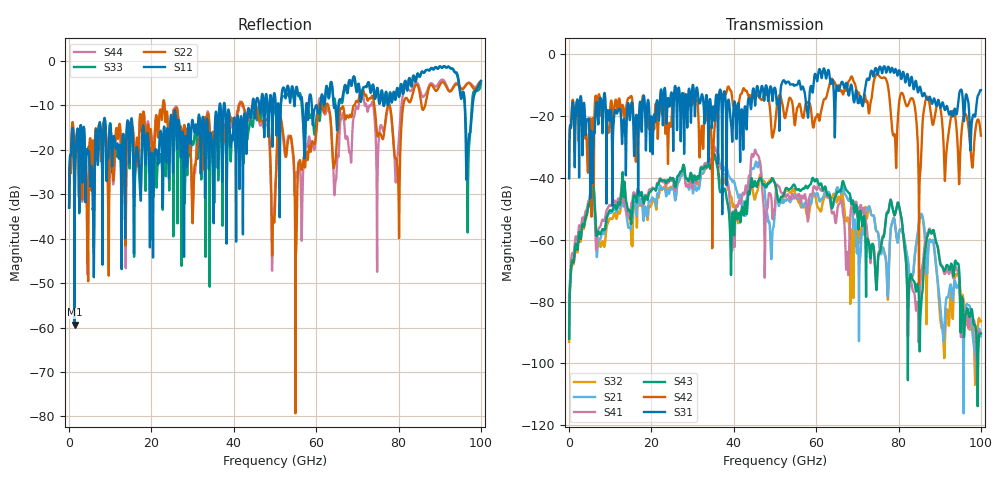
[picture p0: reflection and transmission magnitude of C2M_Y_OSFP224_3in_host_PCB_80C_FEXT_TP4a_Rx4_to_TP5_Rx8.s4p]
# GHz S RI R 45
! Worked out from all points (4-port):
!   4000 points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, 25 MHz to 100 GHz, reference 45 ohm
!   strongest paths, dB at 25 MHz, 25.02 GHz, 50.02 GHz, 75.03 GHz, 100 GHz:
!     S31: -40.1, -13.3, -10.9, -6.3, -11.5
!     S42: -39.6, -17.2, -22.8, -6.5, -26.3
!     S43: -92.1, -40.4, -41.7, -66.6, -90.3
!     S41: -90.0, -40.8, -48.7, -65.8, -90.4
!     S21: -91.5, -43.4, -50.3, -57.7, -91.2
!     S32: -93.1, -43.4, -41.9, -57.7, -86.3
!   lowest |S11| = -59.4 dB at 1.35 GHz (marker M1), VSWR 1.00, Z = 44.9 - j0.0541 ohm
!   |S11| at or under -10 dB: start of sweep to 36.53 GHz; 37.83 GHz to 44.49 GHz (6.656 GHz wide, 16.2 % of centre); 96.08 GHz to 98 GHz (1.925 GHz wide, 1.98 % of centre)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
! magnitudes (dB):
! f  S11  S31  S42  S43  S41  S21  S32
! 25 MHz  -33.0  -40.1  -39.6  -92.1  -90.0  -91.5  -93.1
! 1.35 GHz  -59.4  -29.9  -31.7  -64.3  -61.5  -63.2  -65.1
! 35.62 GHz  -11.5  -14.0  -20.3  -34.3  -31.0  -30.9  -33.5
! 39.83 GHz  -16.3  -20.7  -16.6  -51.7  -51.4  -41.3  -49.4
! 55.15 GHz  -6.0  -10.0  -19.5  -43.7  -45.8  -45.7  -46.6
! 61.02 GHz  -10.1  -5.4  -19.7  -41.9  -43.8  -47.4  -50.7
! 100 GHz  -4.5  -11.5  -26.3  -90.3  -90.4  -91.2  -86.3
